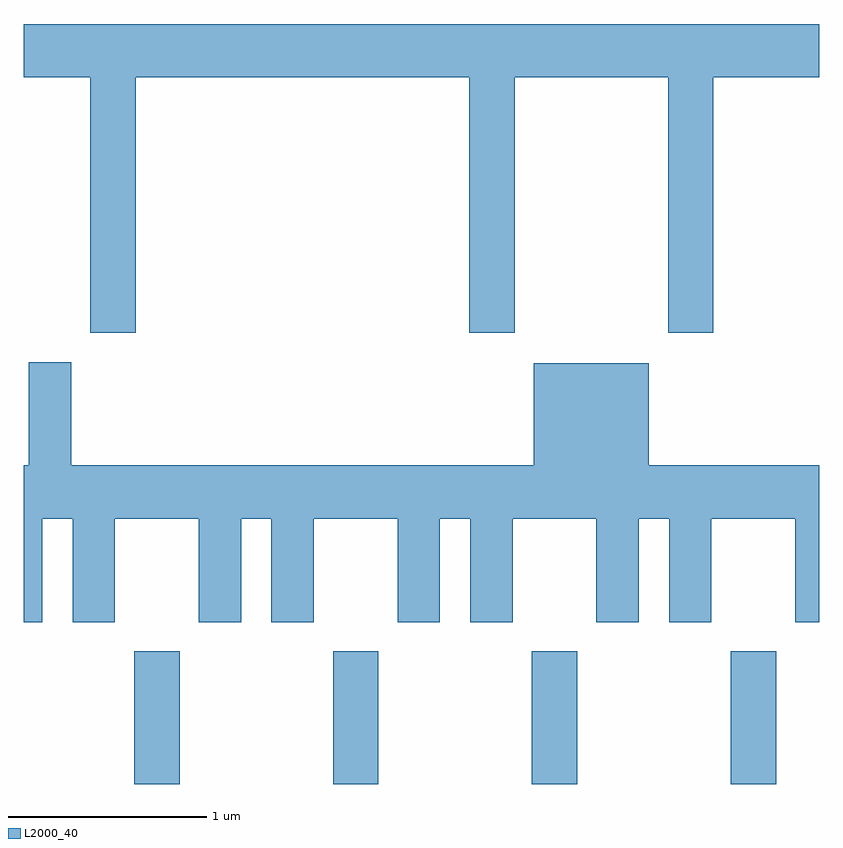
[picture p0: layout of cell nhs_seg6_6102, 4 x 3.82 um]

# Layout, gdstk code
import gdstk
lib = gdstk.Library(unit=1e-6, precision=1e-09)
def R(c, l, rs):  # rectangles x0, y0, x1, y1
    for r in rs: c.add(gdstk.rectangle(r[:2], r[2:], *l))
def A(c, l, x, y, w, h, nx, ny, dx, dy):  # array of equal rectangles
    R(c, l, [(x+i*dx, y+j*dy, x+i*dx+w, y+j*dy+h) for i in range(nx) for j in range(ny)])
def P(c, l, *ps):  # polygons
    for p in ps: c.add(gdstk.Polygon(p, *l))
L2000_40 = (2000, 40)

nhs_seg6_6102 = lib.new_cell('nhs_seg6_6102')
A(nhs_seg6_6102, L2000_40, 370.166, 1644.162, 0.228, 0.667, 4, 1, 1, 0)
P(nhs_seg6_6102, L2000_40, [(370.174,1647.716),(371.851,1647.716),(371.851,1646.431),(372.079,1646.431),(372.079,1647.716),(372.851,1647.716),(372.851,1646.431),(373.079,1646.431),(373.079,1647.716),(373.611,1647.716),(373.611,1647.984),(369.611,1647.984),(369.611,1647.716),(369.946,1647.716),(369.946,1646.431),(370.174,1646.431)],
  [(369.704,1645.496),(369.856,1645.496),(369.856,1644.976),(370.069,1644.976),(370.069,1645.496),(370.491,1645.496),(370.491,1644.976),(370.704,1644.976),(370.704,1645.496),(370.856,1645.496),(370.856,1644.976),(371.069,1644.976),(371.069,1645.496),(371.491,1645.496),(371.491,1644.976),(371.704,1644.976),(371.704,1645.496),(371.856,1645.496),(371.856,1644.976),(372.069,1644.976),(372.069,1645.496),(372.491,1645.496),(372.491,1644.976),(372.704,1644.976),(372.704,1645.496),(372.856,1645.496),(372.856,1644.976),(373.069,1644.976),(373.069,1645.496),(373.491,1645.496),(373.491,1644.976),(373.611,1644.976),(373.611,1645.764),(372.754,1645.764),(372.754,1646.279),(372.176,1646.279),(372.176,1645.764),(369.849,1645.764),(369.849,1646.284),(369.636,1646.284),(369.636,1645.764),(369.611,1645.764),(369.611,1644.976),(369.704,1644.976)])

lib.write_gds('nhs_seg6_6102.gds')
